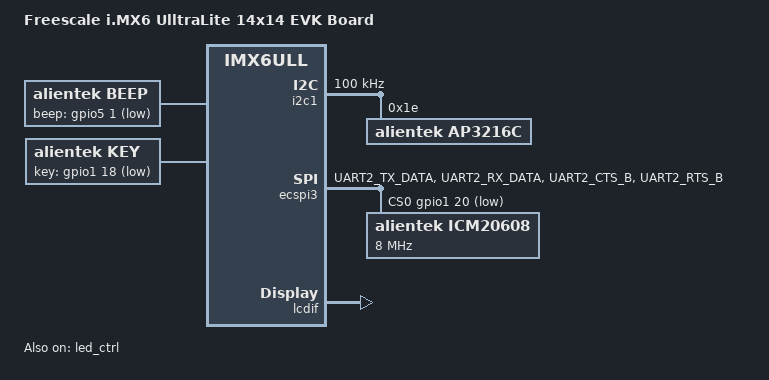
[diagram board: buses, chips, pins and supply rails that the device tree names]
/*
 * Copyright (C) 2016 Freescale Semiconductor, Inc.
 *
 * This file is dual-licensed: you can use it either under the terms
 * of the GPL or the X11 license, at your option. Note that this dual
 * licensing only applies to this file, and not this project as a
 * whole.
 *
 *  a) This file is free software; you can redistribute it and/or
 *     modify it under the terms of the GNU General Public License
 *     version 2 as published by the Free Software Foundation.
 *
 *     This file is distributed in the hope that it will be useful,
 *     but WITHOUT ANY WARRANTY; without even the implied warranty of
 *     MERCHANTABILITY or FITNESS FOR A PARTICULAR PURPOSE.  See the
 *     GNU General Public License for more details.
 *
 * Or, alternatively,
 *
 *  b) Permission is hereby granted, free of charge, to any person
 *     obtaining a copy of this software and associated documentation
 *     files (the "Software"), to deal in the Software without
 *     restriction, including without limitation the rights to use,
 *     copy, modify, merge, publish, distribute, sublicense, and/or
 *     sell copies of the Software, and to permit persons to whom the
 *     Software is furnished to do so, subject to the following
 *     conditions:
 *
 *     The above copyright notice and this permission notice shall be
 *     included in all copies or substantial portions of the Software.
 *
 *     THE SOFTWARE IS PROVIDED "AS IS", WITHOUT WARRANTY OF ANY KIND,
 *     EXPRESS OR IMPLIED, INCLUDING BUT NOT LIMITED TO THE WARRANTIES
 *     OF MERCHANTABILITY, FITNESS FOR A PARTICULAR PURPOSE AND
 *     NONINFRINGEMENT. IN NO EVENT SHALL THE AUTHORS OR COPYRIGHT
 *     HOLDERS BE LIABLE FOR ANY CLAIM, DAMAGES OR OTHER LIABILITY,
 *     WHETHER IN AN ACTION OF CONTRACT, TORT OR OTHERWISE, ARISING
 *     FROM, OUT OF OR IN CONNECTION WITH THE SOFTWARE OR THE USE OR
 *     OTHER DEALINGS IN THE SOFTWARE.
 */

#include "imx6ul-14x14-evk.dts"

/ {
	model = "Freescale i.MX6 UlltraLite 14x14 EVK Board";
	compatible = "fsl,imx6ull-14x14-evk", "fsl,imx6ull";

	beep {
		compatible = "alientek,beep";
		pinctrl-names = "default";
		pinctrl-0 = <&beep_pins>;
		beep-gpio = <&gpio5 1 GPIO_ACTIVE_LOW>;
		status = "okay";
	};

	key {
		compatible = "alientek,key";
		pinctrl-names = "default";
		pinctrl-0 = <&key_pins>;
		key-gpio = <&gpio1 18 GPIO_ACTIVE_LOW>;
		status = "okay";
	};

	led_ctrl {
		compatible = "alientek,led";
		reg = <0x020E0068 0x04    /* SW_MUX_GPIO1_IO03 */
           0x0209C000 0x04    /* GPIO1_DR          */
           0x0209C004 0x04    /* GPIO1_GDIR        */
           0x020E02F4 0x04    /* SW_PAD_GPIO1_IO03 */
           0x020C406C 0x04>;  /* CCM_CCGR1         */
		status = "okay";
	};
};

&iomuxc {
	beep_pins: beep_pins {
		fsl,pins = <
			MX6ULL_PAD_SNVS_TAMPER1__GPIO5_IO01 0x10b0
		>;
	};

	pinctrl_ecspi3: ecspi3grp {
		fsl,pins = <
			/* CS: UART2_TX_DATA → GPIO1_IO20（软件片选，低有效）*/
			MX6UL_PAD_UART2_TX_DATA__GPIO1_IO20   0x10b0
			/* SCLK */
			MX6UL_PAD_UART2_RX_DATA__ECSPI3_SCLK  0x10b1
			/* MOSI */
			MX6UL_PAD_UART2_CTS_B__ECSPI3_MOSI    0x10b1
			/* MISO */
			MX6UL_PAD_UART2_RTS_B__ECSPI3_MISO    0x10b1
		>;
	};
};



&i2c1 {
	clock-frequency = <100000>;
	pinctrl-names = "default";
	pinctrl-0 = <&pinctrl_i2c1>;
	status = "okay";

	ap3216c@1e {
		compatible = "alientek,ap3216c";
		reg = <0x1e>;
	};
};

/* 禁用 UART2，释放 UART2_TX/RX/CTS/RTS 引脚给 ECSPI3 使用 */
&uart2 {
	status = "disabled";
};

&ecspi3 {
	fsl,spi-num-chipselects = <1>;
	cs-gpios = <&gpio1 20 GPIO_ACTIVE_LOW>;
	pinctrl-names = "default";
	pinctrl-0 = <&pinctrl_ecspi3>;
	status = "okay";

	icm20608@0 {
		compatible = "alientek,icm20608";
		reg = <0>;
		spi-max-frequency = <8000000>;  /* 8 MHz */
	};
};

&clks {
	assigned-clocks = <&clks IMX6UL_CLK_PLL3_PFD2>;
	assigned-clock-rates = <320000000>;
};

&lcdif {
	pinctrl-names = "default";
	pinctrl-0 = <&pinctrl_lcdif_dat
		     &pinctrl_lcdif_ctrl>;
	status = "okay";
	display = <&display0>;

	display0: display { /* LCD 属性信息 */
		bits-per-pixel = <24>; /* 一个像素占用 24bit */
		bus-width = <24>; /* 总线宽度 */

		display-timings {
			native-mode = <&timing0>; /* 时序信息 */

			timing0: timing0 { 
				clock-frequency = <51200000>;/* LCD 像素时钟，单位 Hz */
				hactive = <1024>; /* LCD X 轴像素个数 */
				vactive = <600>; /* LCD Y 轴像素个数 */
				hfront-porch = <160>; /* LCD hfp 参数 */
				hback-porch = <140>; /* LCD hbp 参数 */
				hsync-len = <20>; /* LCD hspw 参数 */
				vback-porch = <20>; /* LCD vbp 参数 */
				vfront-porch = <12>; /* LCD vfp 参数 */
				vsync-len = <3>; /* LCD vspw 参数 */
				hsync-active = <0>; /* hsync 数据线极性 */
				vsync-active = <0>; /* vsync 数据线极性 */
				de-active = <1>; /* de 数据线极性 */
				pixelclk-active = <0>; /* clk 数据线先极性 */
			};
		};
	};
};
